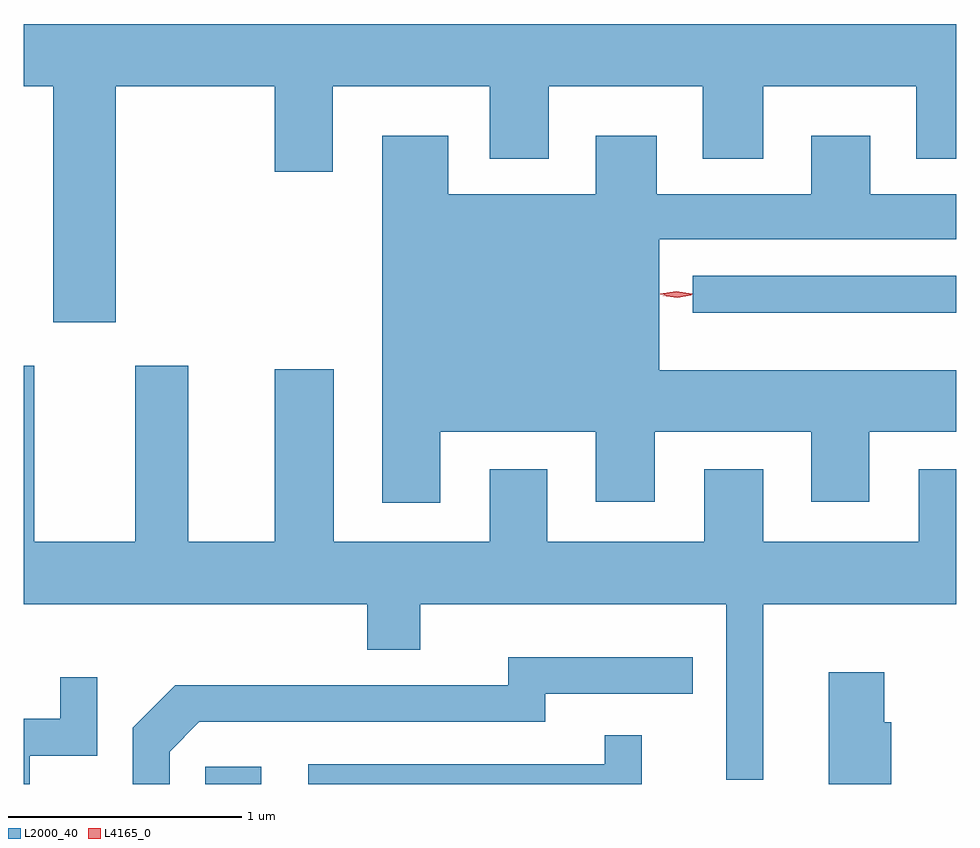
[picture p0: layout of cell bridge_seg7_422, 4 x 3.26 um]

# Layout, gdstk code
import gdstk
lib = gdstk.Library(unit=1e-6, precision=1e-09)
def R(c, l, rs):  # rectangles x0, y0, x1, y1
    for r in rs: c.add(gdstk.rectangle(r[:2], r[2:], *l))
def P(c, l, *ps):  # polygons
    for p in ps: c.add(gdstk.Polygon(p, *l))
L2000_40 = (2000, 40)
L4165_0 = (4165, 0)

bridge_seg7_422 = lib.new_cell('bridge_seg7_422')
R(bridge_seg7_422, L2000_40, [(1063.211,1709.105,1063.453,1709.179), (1065.303,1711.126,1066.433,1711.284)])
P(bridge_seg7_422, L2000_40, [(1062.433,1712.096),(1062.561,1712.096),(1062.561,1711.086),(1062.829,1711.086),(1062.829,1712.096),(1063.511,1712.096),(1063.511,1711.731),(1063.759,1711.731),(1063.759,1712.096),(1064.431,1712.096),(1064.431,1711.786),(1064.684,1711.786),(1064.684,1712.096),(1065.346,1712.096),(1065.346,1711.786),(1065.604,1711.786),(1065.604,1712.096),(1066.261,1712.096),(1066.261,1711.786),(1066.433,1711.786),(1066.433,1712.364),(1062.433,1712.364)],
  [(1064.219,1710.616),(1064.886,1710.616),(1064.886,1710.316),(1065.139,1710.316),(1065.139,1710.616),(1065.811,1710.616),(1065.811,1710.316),(1066.059,1710.316),(1066.059,1710.616),(1066.433,1710.616),(1066.433,1710.879),(1065.159,1710.879),(1065.159,1711.441),(1066.433,1711.441),(1066.433,1711.634),(1066.064,1711.634),(1066.064,1711.884),(1065.811,1711.884),(1065.811,1711.634),(1065.149,1711.634),(1065.149,1711.884),(1064.886,1711.884),(1064.886,1711.634),(1064.254,1711.634),(1064.254,1711.884),(1063.971,1711.884),(1063.971,1710.311),(1064.219,1710.311)],
  [(1065.604,1709.876),(1066.433,1709.876),(1066.433,1710.454),(1066.271,1710.454),(1066.271,1710.144),(1065.604,1710.144),(1065.604,1710.454),(1065.351,1710.454),(1065.351,1710.144),(1064.679,1710.144),(1064.679,1710.454),(1064.431,1710.454),(1064.431,1710.144),(1063.764,1710.144),(1063.764,1710.884),(1063.511,1710.884),(1063.511,1710.144),(1063.139,1710.144),(1063.139,1710.899),(1062.911,1710.899),(1062.911,1710.144),(1062.479,1710.144),(1062.479,1710.899),(1062.433,1710.899),(1062.433,1709.876),(1063.906,1709.876),(1063.906,1709.681),(1064.134,1709.681),(1064.134,1709.876),(1065.446,1709.876),(1065.446,1709.123),(1065.604,1709.123)],
  [(1063.059,1709.244),(1063.187,1709.371),(1064.669,1709.371),(1064.669,1709.491),(1065.303,1709.491),(1065.303,1709.649),(1064.511,1709.649),(1064.511,1709.529),(1063.084,1709.529),(1062.901,1709.347),(1062.901,1709.105),(1063.059,1709.105)],
  [(1066.154,1709.369),(1066.124,1709.369),(1066.124,1709.584),(1065.886,1709.584),(1065.886,1709.105),(1066.154,1709.105)],
  [(1062.459,1709.226),(1062.749,1709.226),(1062.749,1709.563),(1062.591,1709.563),(1062.591,1709.384),(1062.433,1709.384),(1062.433,1709.105),(1062.459,1709.105)],
  [(1065.084,1709.313),(1064.926,1709.313),(1064.926,1709.189),(1063.653,1709.189),(1063.653,1709.105),(1065.084,1709.105)])
P(bridge_seg7_422, L4165_0, [(1065.232,1711.197),(1065.163,1711.206),(1065.162,1711.207),(1065.163,1711.207),(1065.232,1711.217),(1065.3,1711.207),(1065.3,1711.207),(1065.3,1711.206)],
  [(1065.235,1711.19),(1065.173,1711.198),(1065.172,1711.199),(1065.173,1711.199),(1065.234,1711.21),(1065.296,1711.202),(1065.297,1711.201),(1065.296,1711.201)])

lib.write_gds('bridge_seg7_422.gds')
